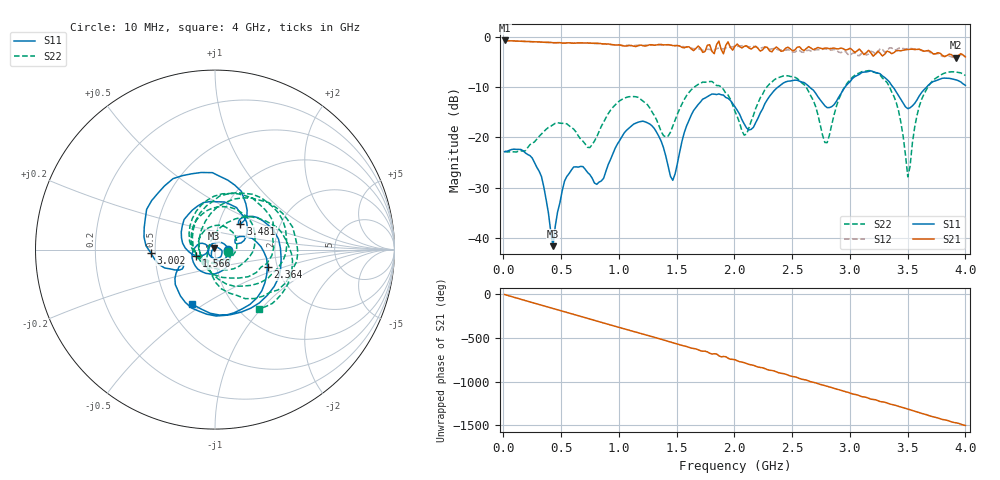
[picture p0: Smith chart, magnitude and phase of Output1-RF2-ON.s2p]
! 9/28/2016 1:20:37 PM
! C:\USERS\ANRITSUUSER\DESKTOP\SWITCHES\OUTPUT1-RF2-ON.S2P
! CHANNEL.1
! TR.MEASUREMENT
! CORRECTED.DATA
# GHZ S RI R 50.0
! FREQ.GHZ  S11RE  S11IM  S21RE  S21IM  S12RE  S12IM  S22RE  S22IM
!; PortSelection: Port_12
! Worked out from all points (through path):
!   201 points, 10 MHz to 4 GHz, reference 50 ohm
!   highest |S21| = -0.72 dB at 10 MHz (marker M1); lowest = -4.1 dB at 3.92 GHz (marker M2)
!   group delay of S21, straight-line fit = 1.04 ns
!   lowest |S11| = -41.6 dB at 428.9 MHz (marker M3), VSWR 1.02, Z = 49.6 + j0.732 ohm
!   |S11| at or under -10 dB: start of sweep to 2.378 GHz; 2.651 GHz to 2.958 GHz (306.4 MHz wide, 10.9 % of centre); 3.374 GHz to 3.664 GHz (290.6 MHz wide, 8.26 % of centre)
!   |S22| runs from -27.8 to -6.7 dB; largest |S21 - S12| = 0.15
!   S11 on the Smith chart (normalised r, x): 10 MHz: 1.15, -0.01; 1.566 GHz: 0.81, -0.06; 2.364 GHz: 1.78, -0.37; 3.002 GHz: 0.47, -0.02; 3.481 GHz: 1.27, +0.38; 4 GHz: 0.65, -0.45
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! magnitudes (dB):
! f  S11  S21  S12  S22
! 10 MHz  -22.9  -0.7  -0.7  -22.8
! 309.2 MHz  -26.7  -1.0  -1.0  -19.8
! 428.9 MHz  -41.6  -1.2  -1.2  -17.5
! 528.7 MHz  -28.7  -1.3  -1.2  -17.2
! 688.3 MHz  -25.8  -1.2  -1.2  -20.8
! 847.9 MHz  -28.7  -1.4  -1.4  -17.8
! 1.087 GHz  -18.1  -1.7  -1.7  -11.9
! 1.347 GHz  -19.8  -1.5  -1.6  -17.7
! 1.466 GHz  -28.6  -1.7  -1.7  -17.8
! 1.566 GHz  -19.0  -2.2  -2.0  -12.4
! 2.005 GHz  -13.9  -1.8  -1.9  -14.8
! 2.105 GHz  -18.1  -1.8  -1.9  -19.4
! 2.364 GHz  -10.2  -2.0  -2.5  -8.3
! 2.683 GHz  -10.6  -2.5  -2.8  -12.7
! 2.803 GHz  -14.1  -2.2  -2.5  -21.0
! 3.002 GHz  -8.9  -2.3  -3.7  -8.6
! 3.342 GHz  -9.0  -3.0  -2.2  -9.9
! 3.481 GHz  -13.9  -2.6  -2.4  -23.5
! 3.501 GHz  -14.3  -2.5  -2.3  -27.8
! 3.681 GHz  -9.6  -2.7  -2.9  -9.8
! 3.92 GHz  -8.6  -4.1  -4.0  -7.0
! 4 GHz  -9.6  -4.0  -3.8  -7.7
